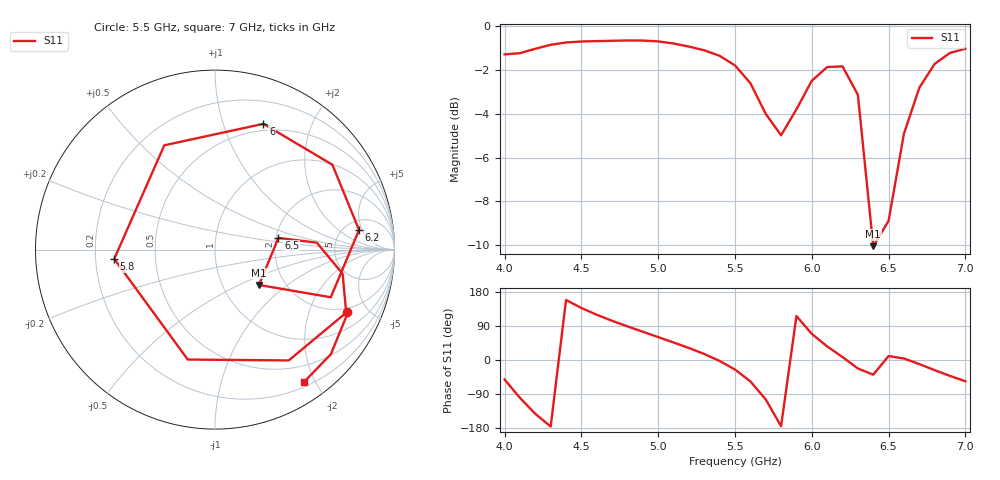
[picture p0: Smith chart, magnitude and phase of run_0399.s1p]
! Touchstone file exported from HFSS 2024.2.0
!  File:  C:/Users/wsak9/Desktop/Sim Fast/Widenad Patch/WP_AI_V1_sweep.aedt
!  Generated:  08:10:05 AM Oct 14, 2026
!  Design:  A1_model
!  Project:  WP_AI_V1_sweep
!  Setup:  Setup1
!  Solution:  Sweep
! Variables:
!  Air_gap = 2.88mm
!  Curve_Amp1 = 3.39
!  Curve_len1 = 1
!  Curve_pos = 9.9mm
!  Extra = 0.94mm
!  H_sub = 0.79mm
!  L_Patch = 15.8mm
!  L_Patch1 = 15.33mm
!  Sx = 2.24mm
!  Sy = 0.2mm
!  WS = 0.57mm
!  W_Patch = 16.01mm
!  W_Patch1 = 14.39mm
!Data is not renormalized
# GHz S MA
! Terminal data exported
! Port[1] = 1
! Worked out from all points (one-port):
!   31 points, 4 GHz to 7 GHz, reference per port
!   lowest |S11| = -10.0 dB at 6.4 GHz (marker M1), VSWR 1.92
!   |S11| at or under -10 dB: 6.399316 GHz to 6.404092 GHz (4.776 MHz wide, 0.0746 % of centre)
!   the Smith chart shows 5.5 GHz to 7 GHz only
!   S11 on the Smith chart (normalised r, x): 5.5 GHz: 1.78, -3.66; 5.8 GHz: 0.28, -0.04; 6 GHz: 0.43, +1.37; 6.2 GHz: 6.74, +4.30; 6.5 GHz: 2.06, +0.31; 7 GHz: 0.26, -1.85
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4  0.8627 -51.6
4.1  0.8684 -100.0
4.2  0.8887 -142.1
4.3  0.9074 -175.5
4.4  0.9186 158.4
4.5  0.9234 137.2
4.6  0.9252 119.3
4.7  0.9268 103.4
4.8  0.9284 88.7
5  0.9238 60.4
5.2  0.8989 31.6
5.3  0.8815 15.8
5.4  0.8562 -2.5
5.5  0.8143 -25.2
5.6  0.7416 -56.4
5.7  0.631 -103.9
5.8  0.5637 -174.7
5.9  0.6461 115.9
6  0.7509 68.9
6.1  0.8071 35.9
6.2  0.81 7.8
6.3  0.6977 -22.4
6.4  0.3145 -38.8
6.5  0.3593 10.4
6.6  0.5686 3.9
6.7  0.7238 -10.7
6.8  0.8208 -26.8
7  0.8889 -56.1
